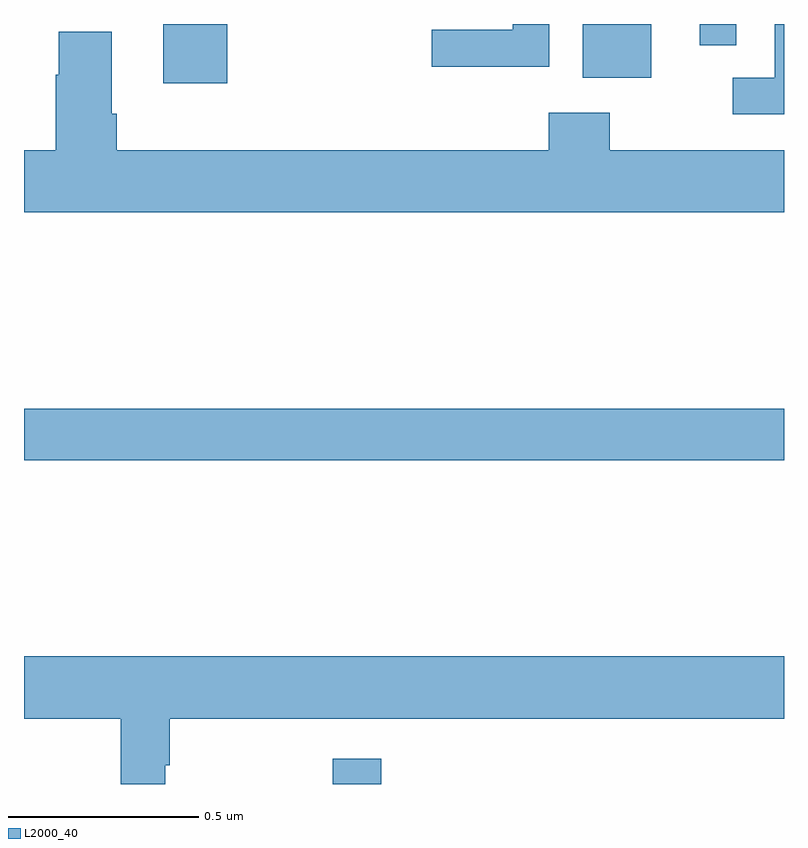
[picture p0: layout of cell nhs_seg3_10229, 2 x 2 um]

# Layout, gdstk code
import gdstk
lib = gdstk.Library(unit=1e-6, precision=1e-09)
def R(c, l, rs):  # rectangles x0, y0, x1, y1
    for r in rs: c.add(gdstk.rectangle(r[:2], r[2:], *l))
def P(c, l, *ps):  # polygons
    for p in ps: c.add(gdstk.Polygon(p, *l))
L2000_40 = (2000, 40)

nhs_seg3_10229 = lib.new_cell('nhs_seg3_10229')
R(nhs_seg3_10229, L2000_40, [(238.812,711.4,238.94,711.466), (238,712.252,240,712.388), (238.367,713.244,238.535,713.4), (239.471,713.258,239.65,713.4), (239.778,713.344,239.874,713.4)])
P(nhs_seg3_10229, L2000_40, [(239.382,713.4),(239.286,713.4),(239.286,713.385),(239.073,713.385),(239.073,713.287),(239.382,713.287)],
  [(240,713.4),(239.975,713.4),(239.975,713.259),(239.865,713.259),(239.865,713.163),(240,713.163)],
  [(240,713.068),(239.541,713.068),(239.541,713.167),(239.381,713.167),(239.381,713.068),(238.244,713.068),(238.244,713.164),(238.231,713.164),(238.231,713.38),(238.091,713.38),(238.091,713.267),(238.084,713.267),(238.084,713.068),(238,713.068),(238,712.904),(240,712.904)],
  [(238.372,711.449),(238.384,711.449),(238.384,711.572),(240,711.572),(240,711.736),(238,711.736),(238,711.572),(238.255,711.572),(238.255,711.4),(238.372,711.4)])

lib.write_gds('nhs_seg3_10229.gds')
